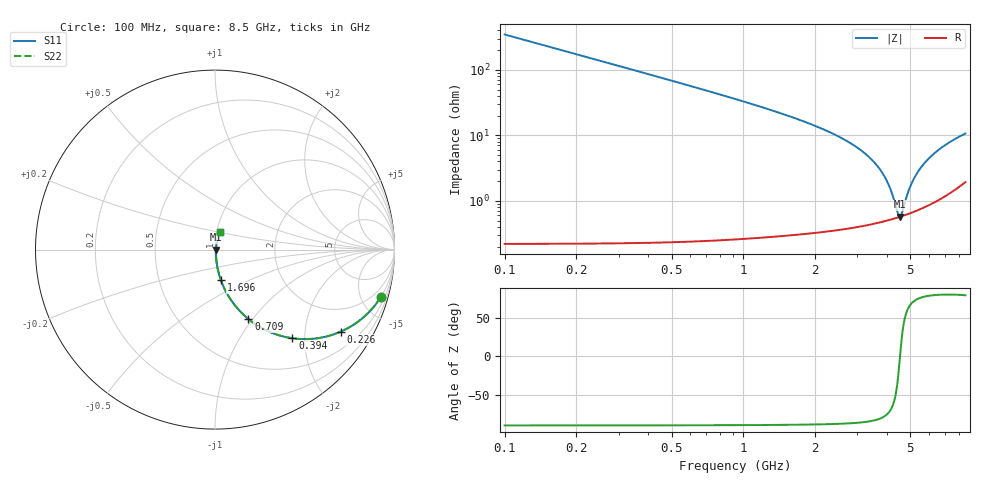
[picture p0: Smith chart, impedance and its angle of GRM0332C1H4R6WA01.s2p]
!Murata Part Number: GRM0332C1H4R6WA01
!These Parameters are Measured in Series Mode Connection
!Data Generated on Mar 30, 2021
!  o--ll--o
!Port1  Port2
!  o------o
!Operation Temp=25[degC], DC Bias Voltage=0[V]
!Freq. Start=100[MHz] Stop=9[GHz] 401[Steps]
# Hz S RI R 50
!Freq.(Hz) S11(Real) S11(Imag) S21(Real) S21(Imag) S12(Real) S12(Imag) S22(Real) S22(Imag)
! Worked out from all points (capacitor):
!   401 points, 100 MHz to 8.5 GHz, reference 50 ohm
!   read as one part in series: C = 4.6 pF near 142 MHz
!   lowest |Z| = 573 mohm at 4.51 GHz (marker M1)
!   series resonance near 4.526 GHz, so ESL is about 270 pH
!   S11 on the Smith chart (normalised r, x): 100 MHz: 1.00, -6.92; 226 MHz: 1.00, -3.05; 394 MHz: 1.00, -1.74; 709 MHz: 1.00, -0.95; 1.696 GHz: 1.01, -0.35; 8.5 GHz: 1.04, +0.21
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1e8  0.9227 -0.2668  0.0773 0.2668  0.0773 0.2668  0.9227 -0.2668
2.26e8  0.6996 -0.4577  0.3004 0.4577  0.3004 0.4577  0.6996 -0.4577
3.94e8  0.4318 -0.494  0.5682 0.494  0.5682 0.494  0.4318 -0.494
5.41e8  0.285 -0.4495  0.715 0.4495  0.715 0.4495  0.285 -0.4495
7.09e8  0.1859 -0.3864  0.8141 0.3864  0.8141 0.3864  0.1859 -0.3864
1.024e9  0.095 -0.2892  0.905 0.2892  0.905 0.2892  0.095 -0.2892
1.507e9  0.0426 -0.1948  0.9574 0.1948  0.9574 0.1948  0.0426 -0.1948
1.696e9  0.0326 -0.1691  0.9674 0.1691  0.9674 0.1691  0.0326 -0.1691
2.914e9  0.00867 -0.0688  0.9913 0.0688  0.9913 0.0688  0.00867 -0.0688
3.397e9  0.00629 -0.0441  0.9937 0.0441  0.9937 0.0441  0.00629 -0.0441
3.775e9  0.0055 -0.0277  0.9945 0.0277  0.9945 0.0277  0.0055 -0.0277
4.069e9  0.00534 -0.0162  0.9947 0.0162  0.9947 0.0162  0.00534 -0.0162
4.3e9  0.00543 -0.00779  0.9946 0.00779  0.9946 0.00779  0.00543 -0.00779
4.426e9  0.00556 -0.00339  0.9944 0.00339  0.9944 0.00339  0.00556 -0.00339
4.51e9  0.00567 -0.000523  0.9943 0.000523  0.9943 0.000523  0.00567 -0.000523
4.594e9  0.0058 0.00229  0.9942 -0.00229  0.9942 -0.00229  0.0058 0.00229
4.846e9  0.0063 0.0104  0.9937 -0.0104  0.9937 -0.0104  0.0063 0.0104
5.077e9  0.0069 0.0176  0.9931 -0.0176  0.9931 -0.0176  0.0069 0.0176
5.707e9  0.00916 0.0356  0.9908 -0.0356  0.9908 -0.0356  0.00916 0.0356
6.316e9  0.0121 0.0516  0.9879 -0.0516  0.9879 -0.0516  0.0121 0.0516
7.114e9  0.0172 0.0708  0.9828 -0.0708  0.9828 -0.0708  0.0172 0.0708
8.5e9  0.0292 0.0999  0.9708 -0.0999  0.9708 -0.0999  0.0292 0.0999
